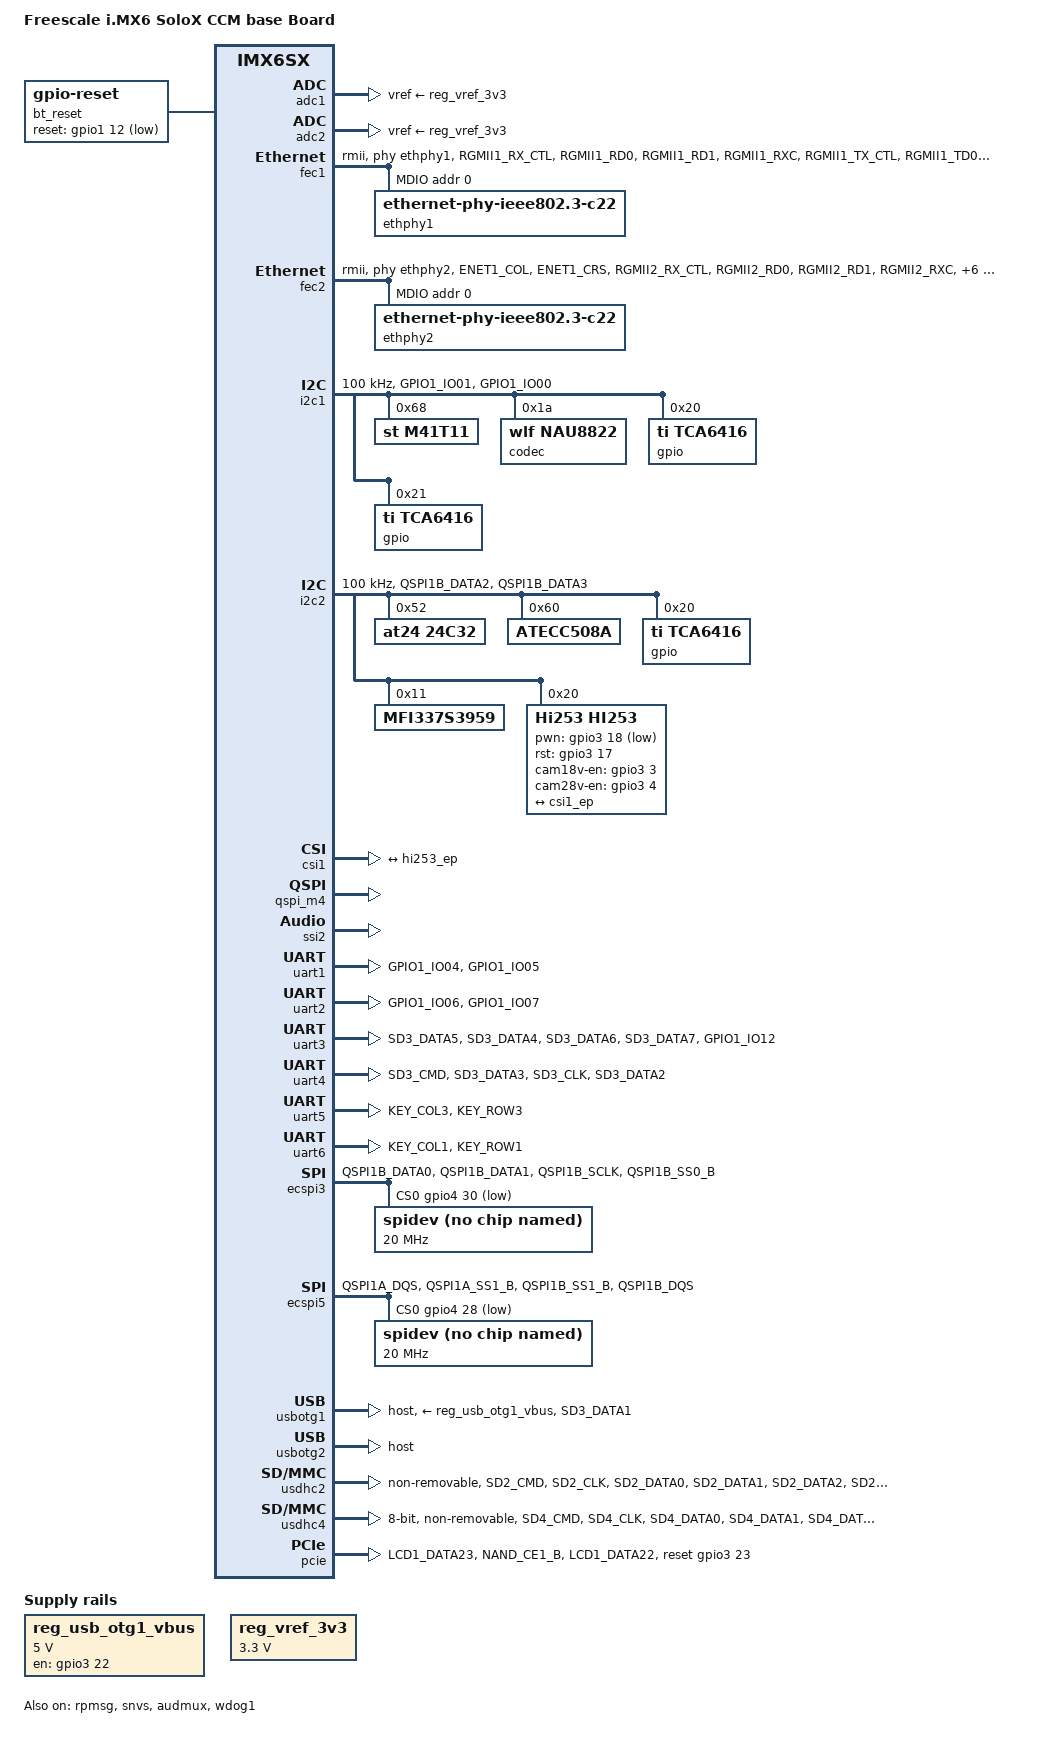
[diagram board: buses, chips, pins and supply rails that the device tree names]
/*Copyright (C) 2014 Freescale Semiconductor, Inc.
 *
 * This program is free software; you can redistribute it and/or modify
 * it under the terms of the GNU General Public License version 2 as
 * published by the Free Software Foundation.
 */

/* This is reference from imx6sx-sg-better_emmc.dts */

/dts-v1/;

#include <dt-bindings/gpio/gpio.h>
#include <dt-bindings/input/input.h>
#include "imx6sx-x2.dtsi"

/ {
	model = "Freescale i.MX6 SoloX CCM base Board";
	compatible = "f1-mezz1", "fsl,imx6sx-sg", "fsl,imx6sx";

	aliases {
		mmc1 = &usdhc2;
		mmc3 = &usdhc4;
	};

	chosen {
		stdout-path = &uart1;
	};

	memory {
		linux,usable-memory = <0x80000000 0x1FF00000>;
	};

	pxp_v4l2_out {
		compatible = "fsl,imx6sx-pxp-v4l2", "fsl,imx6sl-pxp-v4l2";
		status = "disabled";
	};

	regulators {
		compatible = "simple-bus";
		#address-cells = <1>;
		#size-cells = <0>;

		bt_reset: bt-reset {
			compatible = "gpio-reset";
			reset-gpios = <&gpio1 12 GPIO_ACTIVE_LOW>;
			reset-delay-us = <1000>;
			#reset-cells = <0>;
		};

		reg_usb_otg1_vbus: usb_otg1_vbus {
			compatible = "regulator-fixed";
			reg = <1>;
			pinctrl-names = "default";
			pinctrl-0 = <&pinctrl_usb_otg1_vbus>;
			regulator-name = "usb_otg1_vbus";
			regulator-min-microvolt = <5000000>;
			regulator-max-microvolt = <5000000>;
			gpio = <&gpio3 22 GPIO_ACTIVE_HIGH>;
			enable-active-high;
		};

		reg_vref_3v3: regulator@7 {
			compatible = "regulator-fixed";
			reg = <7>;
			regulator-name = "vref-3v3";
			regulator-min-microvolt = <3300000>;
			regulator-max-microvolt = <3300000>;
		};

	};

	sound {
		compatible = "fsl,imx-audio-nau8822";
		model = "nau8822-audio";
		ssi-controller = <&ssi2>;
		audio-codec = <&codec>;
		audio-routing =
			"Mic Bias", "AMIC";
		mux-int-port = <2>;
		mux-ext-port = <3>;
	};
};

&adc1 {
	vref-supply = <&reg_vref_3v3>;
	status = "okay";
};

&adc2 {
	vref-supply = <&reg_vref_3v3>;
	status = "okay";
};


//Port J4: Ethernet A
&fec1 {
	pinctrl-names = "default";
	pinctrl-0 = <&pinctrl_enet1_1>;
	phy-mode = "rmii";
	phy-handle = <&ethphy1>;
	phy-reset-gpios = <&gpio2 4 0>;
	phy-reset-duration =<20>;
   	local-mac-address = [00 04 9F 01 1B 58];
	status = "okay";

	mdio {
		#address-cells = <1>;
		#size-cells = <0>;

		ethphy1: ethernet-phy@0 {
			compatible = "ethernet-phy-ieee802.3-c22";
			reg = <0>;
			micrel,led-mode = <0>;
		};
	};
};

//Port J3: Ethernet B
&fec2 {
	pinctrl-names = "default";
	pinctrl-0 = <&pinctrl_enet2_1>;
	phy-mode = "rmii";
	phy-handle = <&ethphy2>;
	phy-reset-gpios = <&gpio2 2 0>;
	phy-reset-duration = <20>;
   	local-mac-address = [00 04 9F 01 1B 68];
	status = "okay";

	mdio {
		#address-cells = <1>;
		#size-cells = <0>;

		ethphy2: ethernet-phy@0 {
			compatible = "ethernet-phy-ieee802.3-c22";
			reg = <0>;
			micrel,led-mode = <0>;
		};
	};
};

&i2c1 {
	clock-frequency = <100000>;
	pinctrl-names = "default";
	pinctrl-0 = <&pinctrl_i2c1>;
	status = "okay";

	m41t11: m41t11@68 {
		compatible = "st,m41t11";
		reg = <0x68>;
		status = "okay";
	};

	/*
	 * Note: has been found that, if the above m41t11 is not enabled,
	 * audio codec may not reply a proper i2c ack (error -6)
	 */
	codec: nau8822@1a {
		compatible = "wlf,nau8822";
		reg = <0x1a>;
		clocks = <&clks IMX6SX_CLK_AUDIO>;
	};

	gpio@20 {
		compatible = "ti,tca6416";
		reg = <0x20>;
	};

	gpio@21 {
		compatible = "ti,tca6416";
		reg = <0x21>;
	};
};

&i2c2 {
	clock-frequency = <100000>;
	pinctrl-names = "default";
	pinctrl-0 = <&pinctrl_i2c2>;
	status = "okay";

	at24@52 {
		compatible = "at24,24c32";
		pagesize = <32>;
		reg = <0x52>;
	};

	ATECC508A: ATECC508A@60 {
		compatible = "ATECC508A";
		reg = <0x60>;
	};

	gpio@20 {
		compatible = "ti,tca6416";
		reg = <0x20>;
	};

	MFI337S3959: MFI337S3959@11 {
		compatible = "MFI337S3959";
		reg = <0x11>;
	};

	/*
	 * Note, this can't be tested, since Better board
	 * here is without any camera
	 */
	Hi253@20 {
		compatible = "Hi253,Hi253";
		reg = <0x20>;
		pinctrl-names = "default";
		pinctrl-0 = <&pinctrl_csi_0>;
		clocks = <&clks IMX6SX_CLK_CSI>;
		clock-names = "csi_mclk";
		pwn-gpios = <&gpio3 18 1>;
		rst-gpios = <&gpio3 17 0>;

		cam18v-en-gpios = <&gpio3 3 0>;
		cam28v-en-gpios = <&gpio3 4 0>;

		csi_id = <0>;
		mclk = <19000000>;
		mclk_source = <0>;
		port {
			hi253_ep: endpoint {
				remote-endpoint = <&csi1_ep>;
			};
		};
	};
};

&csi1 {
	status = "okay";

	port {
		csi1_ep: endpoint {
			remote-endpoint = <&hi253_ep>;
		};
	};
};

&ocram {
	reg = <0x00901000 0xf000>;
};

&qspi2 {
	status = "disabled";
};

&qspi_m4 {
	status = "okay";
};

&rpmsg {
         vdev-nums = <1>;
         reg = <0xbfff0000 0x10000>;
         status = "okay";
};

&clks {
	fsl,shared-clks-number = <0x23>;//<0x1A>;
	fsl,shared-clks-index = <IMX6SX_CLK_PLL2_BUS IMX6SX_CLK_PLL2_PFD0
			IMX6SX_CLK_PLL2_PFD2 IMX6SX_CLK_PLL3_USB_OTG
			IMX6SX_CLK_PLL3_PFD1 IMX6SX_CLK_PLL3_PFD2
			IMX6SX_CLK_PLL3_PFD3 IMX6SX_CLK_PLL4_AUDIO
			IMX6SX_CLK_PLL5_VIDEO
			IMX6SX_CLK_OCRAM IMX6SX_CLK_CAN1_SERIAL
			IMX6SX_CLK_CAN1_IPG IMX6SX_CLK_CAN2_SERIAL
			IMX6SX_CLK_CAN2_IPG IMX6SX_CLK_CANFD
			IMX6SX_CLK_ECSPI1 IMX6SX_CLK_ECSPI2
			IMX6SX_CLK_ECSPI3 IMX6SX_CLK_ECSPI4
			IMX6SX_CLK_ECSPI5 IMX6SX_CLK_QSPI1
			IMX6SX_CLK_QSPI2 IMX6SX_CLK_SSI1
			IMX6SX_CLK_SSI2 IMX6SX_CLK_SSI3
			IMX6SX_CLK_UART_SERIAL IMX6SX_CLK_UART_IPG
			IMX6SX_CLK_PERIPH_CLK2_SEL IMX6SX_CLK_DUMMY
			IMX6SX_CLK_I2C1 IMX6SX_CLK_I2C2
			IMX6SX_CLK_I2C3 IMX6SX_CLK_I2C4
			IMX6SX_CLK_EPIT1 IMX6SX_CLK_EPIT2>;
	fsl,shared-mem-addr = <0x91F000>;
	fsl,shared-mem-size = <0x1000>;
};

&snvs{
	status = "okay";
};

&ssi2 {
	fsl,mode = "i2s-slave";
	status = "okay";
};

&audmux {
	pinctrl-names = "default";
	pinctrl-0 = <&pinctrl_audmux>;
	status = "okay";
};

//Debug port
&uart1 {
	pinctrl-names = "default";
	pinctrl-0 = <&pinctrl_uart1>;
	status = "okay";
};

//Port P1: RS485 A
&uart2 {
	pinctrl-names = "default";
	pinctrl-0 = <&pinctrl_uart2>;
	status = "okay";
};

//BM28: BT
&uart3 {
	pinctrl-names = "default";
	pinctrl-0 = <&pinctrl_uart3
			&pinctrl_bt>;
	fsl,uart-has-rtscts;
	resets = <&bt_reset>;
	status = "okay";
};

//Port P3: LTE EXPANSION
&uart4 {
        pinctrl-names = "default";
        pinctrl-0 = <&pinctrl_uart4>;
	fsl,uart-has-rtscts;
        status = "okay";
};

//Port P5: RS485 B
&uart5 {
	pinctrl-names = "default";
	pinctrl-0 = <&pinctrl_uart5>;
	status = "okay";
};

//Port P4/P7: RS232
&uart6 {
	pinctrl-names = "default";
	pinctrl-0 = <&pinctrl_uart6>;
	status = "okay";
};

//Port J1: TELCO EXPANSION
&ecspi3 {
	fsl,spi-num-chipselects = <1>;
	cs-gpios = <&gpio4 30 GPIO_ACTIVE_LOW>;
	pinctrl-names = "default";
	pinctrl-0 = <&pinctrl_ecspi3>;
	status = "okay";
	spidev@0 {
		compatible = "rohm,dh2228fv";
		spi-max-frequency = <20000000>;
		reg = <0>;
		dmas = <&sdma 3 7 1>, <&sdma 4 7 2>;
		dma-names = "rx", "tx";
	};
};

//Port P3: LTE EXPANSION
&ecspi5 {
	fsl,spi-num-chipselects = <1>;
	cs-gpios = <&gpio4 28 GPIO_ACTIVE_LOW>;
	pinctrl-names = "default";
	pinctrl-0 = <&pinctrl_ecspi5>;
	status = "okay";
	spidev@0 {
		compatible = "rohm,dh2228fv";
		spi-max-frequency = <20000000>;
		reg = <0>;
		dmas = <&sdma 11 7 1>, <&sdma 12 7 2>;
		dma-names = "rx", "tx";
	};
};

//Port J5: USB type-C
&usbotg1 {
	vbus-supply = <&reg_usb_otg1_vbus>;
	pinctrl-names = "default";
	pinctrl-0 = <&pinctrl_usb_otg1_id>;
	//disable-over-current;
	srp-disable;
	hnp-disable;
	adp-disable;
	dr_mode = "host";
	status = "okay";
};

//Port P3: LTE EXPANSION
&usbotg2 {
        pinctrl-names = "default";
        srp-disable;
        hnp-disable;
        adp-disable;
        dr_mode = "host";
        status = "okay";
};

//BM28: Wifi
&usdhc2 {
	pinctrl-names = "default";
	pinctrl-0 = <&pinctrl_wifi>;
	non-removable;
	no-1-8-v;
	keep-power-in-suspend;
	enable-sdio-wakeup;
	status = "okay";
};

//eMMC
&usdhc4 {
	pinctrl-names = "default";
	pinctrl-0 = <&pinctrl_usdhc4_1>;
	bus-width = <8>;
	non-removable;
	no-1-8-v;
	keep-power-in-suspend;
	enable-sdio-wakeup;
	status = "okay";
};

/* Override the watchdog driver type
 */
&wdog1 {
        compatible = "fsl,imx21-wdt";
        status = "okay";
};
&iomuxc {
	pinctrl-names = "default";
	pinctrl-0 = <&pinctrl_hog_1>;
	imx6x-sg {
		pinctrl_hog_1: hoggrp-1 {
			fsl,pins = <
				MX6SX_PAD_USB_H_DATA__GPIO7_IO_10	0x83030
			>;
		};

		pinctrl_enet1_1: enet1grp-1 {
			fsl,pins = <
				MX6SX_PAD_RGMII1_RX_CTL__ENET1_RX_EN   	0xb099
				MX6SX_PAD_RGMII1_RD0__ENET1_RX_DATA_0   0xb099
				MX6SX_PAD_RGMII1_RD1__ENET1_RX_DATA_1   0xb099
				MX6SX_PAD_RGMII1_RXC__ENET1_RX_ER 	0xb099
				MX6SX_PAD_RGMII1_TX_CTL__ENET1_TX_EN	0xb099
				MX6SX_PAD_RGMII1_TD0__ENET1_TX_DATA_0   0xb099
				MX6SX_PAD_RGMII1_TD1__ENET1_TX_DATA_1   0xb099
				MX6SX_PAD_ENET1_RX_CLK__GPIO2_IO_4 	0xb099
				MX6SX_PAD_ENET1_TX_CLK__ENET1_REF_CLK1  0x4000b099
			>;
		};

		pinctrl_enet2_1: enet2grp-1{
			fsl,pins = <
				MX6SX_PAD_ENET1_COL__ENET2_MDC          0xa089
				MX6SX_PAD_ENET1_CRS__ENET2_MDIO         0xa089
				MX6SX_PAD_RGMII2_RX_CTL__ENET2_RX_EN    0xb099
				MX6SX_PAD_RGMII2_RD0__ENET2_RX_DATA_0   0xb099
				MX6SX_PAD_RGMII2_RD1__ENET2_RX_DATA_1   0xb099
                		MX6SX_PAD_RGMII2_RXC__ENET2_RX_ER       0xb099
				MX6SX_PAD_RGMII2_TX_CTL__ENET2_TX_EN    0xb099
				MX6SX_PAD_RGMII2_TD0__ENET2_TX_DATA_0   0xb099
				MX6SX_PAD_RGMII2_TD1__ENET2_TX_DATA_1   0xb099
				MX6SX_PAD_ENET1_MDC__GPIO2_IO_2		0xb099
                		MX6SX_PAD_ENET2_TX_CLK__ENET2_REF_CLK2  0x4000b099
			>;
		};

		pinctrl_i2c1: i2c1grp {
			fsl,pins = <
				MX6SX_PAD_GPIO1_IO01__I2C1_SDA		0x4001b8b1
				MX6SX_PAD_GPIO1_IO00__I2C1_SCL		0x4001b8b1
			>;
		};

		pinctrl_i2c2: i2c2grp {
			fsl,pins = <
				MX6SX_PAD_QSPI1B_DATA2__I2C2_SDA	0x4001b8b1
				MX6SX_PAD_QSPI1B_DATA3__I2C2_SCL	0x4001b8b1
			>;
		};

		pinctrl_peri_3v3: peri3v3grp {
			fsl,pins = <
				MX6SX_PAD_QSPI1A_DATA0__GPIO4_IO_16	0x80000000
			>;
		};

		pinctrl_qspi1: qspi1grp {
			fsl,pins = <
				MX6SX_PAD_QSPI1A_DATA0__QSPI1_A_DATA_0  0x70a1
				MX6SX_PAD_QSPI1A_DATA1__QSPI1_A_DATA_1  0x70a1
				MX6SX_PAD_QSPI1A_DATA2__QSPI1_A_DATA_2  0x70a1
				MX6SX_PAD_QSPI1A_DATA3__QSPI1_A_DATA_3  0x70a1
				MX6SX_PAD_QSPI1A_SCLK__QSPI1_A_SCLK     0x70a1
				MX6SX_PAD_QSPI1A_SS0_B__QSPI1_A_SS0_B   0x70a1
			>;
		};

		//Debug port for A9 console
		pinctrl_uart1: uart1grp {
			fsl,pins = <
				MX6SX_PAD_GPIO1_IO04__UART1_TX		0x1b0b1
				MX6SX_PAD_GPIO1_IO05__UART1_RX		0x1b0b1
			>;
		};

		//Port P1: RS485 A
		pinctrl_uart2: uart2grp {
			fsl,pins = <
				MX6SX_PAD_GPIO1_IO06__UART2_TX		0x1b0b1
				MX6SX_PAD_GPIO1_IO07__UART2_RX		0x1b0b1
			>;
		};

		//BM28: BT
		pinctrl_uart3: uart3grp {
			fsl,pins = <
				MX6SX_PAD_SD3_DATA5__UART3_TX		0x1b0b1
				MX6SX_PAD_SD3_DATA4__UART3_RX		0x1b0b1
				MX6SX_PAD_SD3_DATA6__UART3_RTS_B	0x1b0b1
				MX6SX_PAD_SD3_DATA7__UART3_CTS_B	0x1b0b1
			>;
		};

                pinctrl_bt: btgrp {
                        fsl,pins = <
                                MX6SX_PAD_GPIO1_IO12__GPIO1_IO_12        0x13069 /* BT_REG_ON */
                        >;
                };

		//Port P3: LTE EXPANSION
		pinctrl_uart4: uart4grp {
			fsl,pins = <
				MX6SX_PAD_SD3_CMD__UART4_TX		0x1b0b1
				MX6SX_PAD_SD3_DATA3__UART4_RX		0x1b0b1
				MX6SX_PAD_SD3_CLK__UART4_CTS_B          0x1b0b1
				MX6SX_PAD_SD3_DATA2__UART4_RTS_B        0x1b0b1
			>;
		};

		//Port P5: RS485 B
		pinctrl_uart5: uart5grp {
			fsl,pins = <
				MX6SX_PAD_KEY_COL3__UART5_TX		0x1b0b1
				MX6SX_PAD_KEY_ROW3__UART5_RX		0x1b0b1
			>;
		};

		//Port P4/P7: RS232
		pinctrl_uart6: uart6grp {
			fsl,pins = <
				MX6SX_PAD_KEY_COL1__UART6_TX		0x1b0b1
				MX6SX_PAD_KEY_ROW1__UART6_RX		0x1b0b1
			>;
		};

		//Port J1: TELCO EXPANSION
		pinctrl_ecspi3: ecspi3grp {
			fsl,pins = <
				MX6SX_PAD_QSPI1B_DATA0__ECSPI3_MOSI	0x1b0b9		//0x1b089
				MX6SX_PAD_QSPI1B_DATA1__ECSPI3_MISO	0x1b0b9		//0x1b0b9
				MX6SX_PAD_QSPI1B_SCLK__ECSPI3_SCLK	0x1b0b9		//0x1b0b9
				MX6SX_PAD_QSPI1B_SS0_B__GPIO4_IO_30	0x0b0b9		//0x0b089
			>;
		};

		//Port P3: LTE EXPANSION
		pinctrl_ecspi5: ecspi5grp {
			fsl,pins = <
				MX6SX_PAD_QSPI1A_DQS__ECSPI5_MOSI	0x1b0b9     //0x1b089//QSPI1A_DQS
				MX6SX_PAD_QSPI1A_SS1_B__ECSPI5_MISO	0x1b0b9     //QSPI1A_SS1_B
				MX6SX_PAD_QSPI1B_SS1_B__ECSPI5_SCLK	0x1b0b9     //0x1b089//QSPI1B_SS1_B
				MX6SX_PAD_QSPI1B_DQS__GPIO4_IO_28	0x0b0b9	    //0x0b089//QSPI1B_DQS
			>;
		};

		pinctrl_audmux: audmuxgrp {
			fsl,pins = <
				MX6SX_PAD_LCD1_RESET__AUDMUX_AUD3_RXD    0x130b0
				MX6SX_PAD_LCD1_ENABLE__AUDMUX_AUD3_TXC   0x130b0
				MX6SX_PAD_LCD1_HSYNC__AUDMUX_AUD3_TXD    0x120b0
				MX6SX_PAD_LCD1_VSYNC__AUDMUX_AUD3_TXFS   0x130b0
				MX6SX_PAD_ENET1_MDIO__AUDMUX_MCLK        0x130b0
			>;
		};

                pinctrl_usb_otg1_vbus: usbotg1vbusgrp {
                        fsl,pins = <
                                MX6SX_PAD_LCD1_DATA21__GPIO3_IO_22     0x10b0
                        >;
                };

                pinctrl_usb_otg1_id: usbotg1idgrp {
                        fsl,pins = <
                                MX6SX_PAD_SD3_DATA1__GPIO7_IO_3         0x17059
                        >;
                };

		pinctrl_wifi: wifigrp {
			fsl,pins = <
				MX6SX_PAD_SD2_CMD__USDHC2_CMD		0x17059
				MX6SX_PAD_SD2_CLK__USDHC2_CLK		0x170f9
				MX6SX_PAD_SD2_DATA0__USDHC2_DATA0	0x17059
				MX6SX_PAD_SD2_DATA1__USDHC2_DATA1	0x17059
				MX6SX_PAD_SD2_DATA2__USDHC2_DATA2	0x17059
				MX6SX_PAD_SD2_DATA3__USDHC2_DATA3	0x17059
				MX6SX_PAD_GPIO1_IO10__GPIO1_IO_10	0x17059	/* REG_ON */
			>;
		};

		pinctrl_usdhc4_1: usdhc4grp-1 {
			fsl,pins = <
				MX6SX_PAD_SD4_CMD__USDHC4_CMD		0x170D1
				MX6SX_PAD_SD4_CLK__USDHC4_CLK		0x100f9
				MX6SX_PAD_SD4_DATA0__USDHC4_DATA0	0x170D1
				MX6SX_PAD_SD4_DATA1__USDHC4_DATA1	0x170D1
				MX6SX_PAD_SD4_DATA2__USDHC4_DATA2	0x170D1
				MX6SX_PAD_SD4_DATA3__USDHC4_DATA3	0x170D1
				MX6SX_PAD_SD4_DATA4__USDHC4_DATA4	0x170D1
				MX6SX_PAD_SD4_DATA5__USDHC4_DATA5	0x170D1
				MX6SX_PAD_SD4_DATA6__USDHC4_DATA6	0x170D1
				MX6SX_PAD_SD4_DATA7__USDHC4_DATA7	0x170D1
				MX6SX_PAD_SD4_RESET_B__USDHC4_RESET_B	0x170D1
			>;
		};

		pinctrl_usdhc4_1_100mhz: usdhc4grp-1-100mhz {
			fsl,pins = <
				MX6SX_PAD_SD4_CMD__USDHC4_CMD		0x170b9
				MX6SX_PAD_SD4_CLK__USDHC4_CLK		0x100b9
				MX6SX_PAD_SD4_DATA0__USDHC4_DATA0	0x170b9
				MX6SX_PAD_SD4_DATA1__USDHC4_DATA1	0x170b9
				MX6SX_PAD_SD4_DATA2__USDHC4_DATA2	0x170b9
				MX6SX_PAD_SD4_DATA3__USDHC4_DATA3	0x170b9
				MX6SX_PAD_SD4_DATA4__USDHC4_DATA4	0x170b9
				MX6SX_PAD_SD4_DATA5__USDHC4_DATA5	0x170b9
				MX6SX_PAD_SD4_DATA6__USDHC4_DATA6	0x170b9
				MX6SX_PAD_SD4_DATA7__USDHC4_DATA7	0x170b9
			>;
		};

		pinctrl_usdhc4_1_200mhz: usdhc4grp-1-200mhz {
			fsl,pins = <
				MX6SX_PAD_SD4_CMD__USDHC4_CMD		0x170f9
				MX6SX_PAD_SD4_CLK__USDHC4_CLK		0x100f9
				MX6SX_PAD_SD4_DATA0__USDHC4_DATA0	0x170f9
				MX6SX_PAD_SD4_DATA1__USDHC4_DATA1	0x170f9
				MX6SX_PAD_SD4_DATA2__USDHC4_DATA2	0x170f9
				MX6SX_PAD_SD4_DATA3__USDHC4_DATA3	0x170f9
				MX6SX_PAD_SD4_DATA4__USDHC4_DATA4	0x170f9
				MX6SX_PAD_SD4_DATA5__USDHC4_DATA5	0x170f9
				MX6SX_PAD_SD4_DATA6__USDHC4_DATA6	0x170f9
				MX6SX_PAD_SD4_DATA7__USDHC4_DATA7	0x170f9
			>;
		};

		pinctrl_pcie: pciegrp {
			fsl,pins = <
				MX6SX_PAD_LCD1_DATA23__GPIO3_IO_24	0x10b0
				MX6SX_PAD_NAND_CE1_B__GPIO4_IO_2	0x10b0
				MX6SX_PAD_LCD1_DATA22__GPIO3_IO_23	0x10b0
			>;
		};

		pinctrl_csi_0: csigrp-0 {
			fsl,pins = <
				MX6SX_PAD_LCD1_DATA07__CSI1_MCLK	0x110b0
				MX6SX_PAD_LCD1_DATA06__CSI1_PIXCLK	0x110b9
				MX6SX_PAD_LCD1_DATA04__CSI1_VSYNC	0x110b0
				MX6SX_PAD_LCD1_DATA05__CSI1_HSYNC	0x110b0
				MX6SX_PAD_LCD1_DATA15__CSI1_DATA_2	0x110b0
				MX6SX_PAD_LCD1_DATA14__CSI1_DATA_3	0x110b0
				MX6SX_PAD_LCD1_DATA13__CSI1_DATA_4	0x110b0
				MX6SX_PAD_LCD1_DATA12__CSI1_DATA_5	0x110b0
				MX6SX_PAD_LCD1_DATA11__CSI1_DATA_6	0x110b0
				MX6SX_PAD_LCD1_DATA10__CSI1_DATA_7	0x110b0
				MX6SX_PAD_LCD1_DATA09__CSI1_DATA_8	0x110b0
				MX6SX_PAD_LCD1_DATA08__CSI1_DATA_9	0x110b0
				MX6SX_PAD_LCD1_DATA16__GPIO3_IO_17	0x80000000
				MX6SX_PAD_LCD1_DATA17__GPIO3_IO_18	0x80000000
			>;
		};
	};
};

&pcie {
	pinctrl-names = "default";
	pinctrl-0 = <&pinctrl_pcie>;
	reset-gpio = <&gpio3 23 0>;
	power-on-gpio = <&gpio3 24 0>;
	disable-gpio = <&gpio4 2 0>;
	status = "okay";
};
